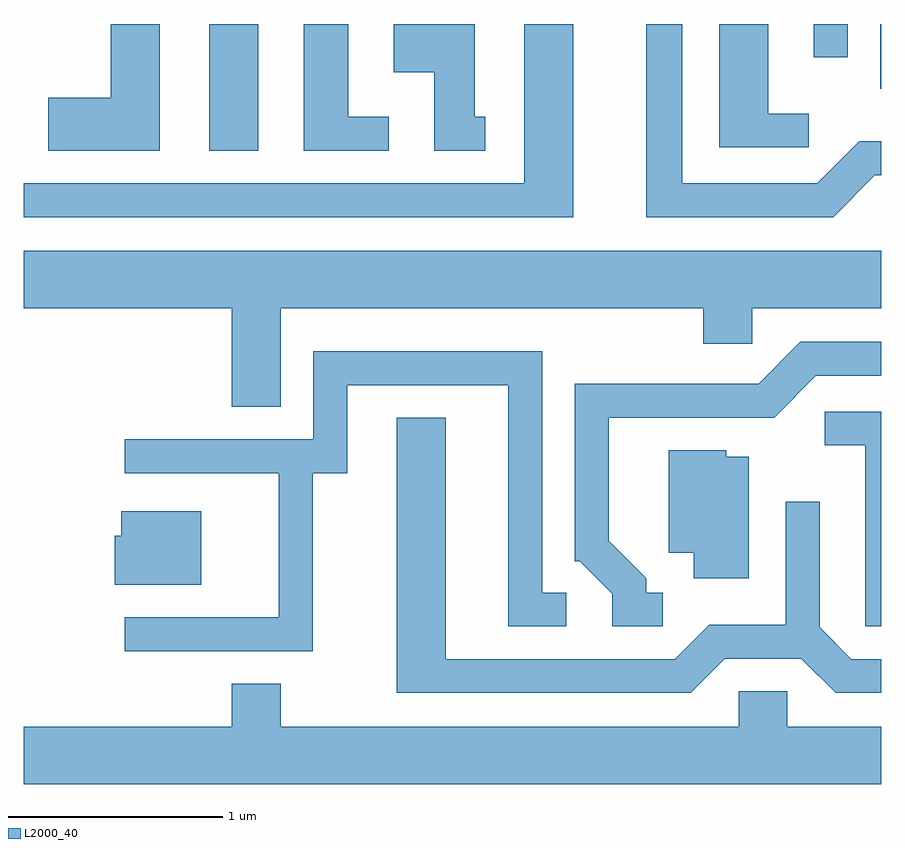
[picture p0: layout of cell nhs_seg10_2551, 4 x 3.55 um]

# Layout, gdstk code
import gdstk
lib = gdstk.Library(unit=1e-6, precision=1e-09)
def R(c, l, rs):  # rectangles x0, y0, x1, y1
    for r in rs: c.add(gdstk.rectangle(r[:2], r[2:], *l))
def P(c, l, *ps):  # polygons
    for p in ps: c.add(gdstk.Polygon(p, *l))
L2000_40 = (2000, 40)

nhs_seg10_2551 = lib.new_cell('nhs_seg10_2551')
R(nhs_seg10_2551, L2000_40, [(260.476,2167.931,260.704,2168.522), (263.606,2168.221,263.611,2168.522), (263.296,2168.368,263.454,2168.522)])
P(nhs_seg10_2551, L2000_40, [(261.313,2168.089),(261.124,2168.089),(261.124,2168.522),(260.916,2168.522),(260.916,2167.931),(261.313,2167.931)],
  [(262.174,2168.522),(261.946,2168.522),(261.946,2167.779),(259.611,2167.779),(259.611,2167.621),(262.174,2167.621)],
  [(263.273,2168.104),(263.084,2168.104),(263.084,2168.522),(262.856,2168.522),(262.856,2167.946),(263.273,2167.946)],
  [(263.582,2167.816),(263.611,2167.816),(263.611,2167.974),(263.509,2167.974),(263.314,2167.779),(262.684,2167.779),(262.684,2168.522),(262.516,2168.522),(262.516,2167.621),(263.387,2167.621)],
  [(260.244,2168.522),(260.016,2168.522),(260.016,2168.179),(259.726,2168.179),(259.726,2167.931),(260.244,2167.931)],
  [(261.763,2168.089),(261.714,2168.089),(261.714,2168.522),(261.336,2168.522),(261.336,2168.296),(261.526,2168.296),(261.526,2167.931),(261.763,2167.931)],
  [(260.809,2167.196),(262.781,2167.196),(262.781,2167.031),(263.009,2167.031),(263.009,2167.196),(263.611,2167.196),(263.611,2167.464),(259.611,2167.464),(259.611,2167.196),(260.581,2167.196),(260.581,2166.736),(260.809,2166.736)],
  [(262.593,2165.869),(262.514,2165.869),(262.514,2165.937),(262.339,2166.112),(262.339,2166.686),(263.112,2166.686),(263.307,2166.881),(263.611,2166.881),(263.611,2167.039),(263.234,2167.039),(263.039,2166.844),(262.181,2166.844),(262.181,2166.016),(262.204,2166.016),(262.356,2165.864),(262.356,2165.711),(262.593,2165.711)],
  [(260.959,2166.426),(261.119,2166.426),(261.119,2166.836),(261.871,2166.836),(261.871,2165.711),(262.142,2165.711),(262.142,2165.869),(262.029,2165.869),(262.029,2166.994),(260.961,2166.994),(260.961,2166.584),(260.082,2166.584),(260.082,2166.426),(260.801,2166.426),(260.801,2165.754),(260.082,2165.754),(260.082,2165.596),(260.959,2165.596)],
  [(263.611,2166.714),(263.348,2166.714),(263.348,2166.556),(263.536,2166.556),(263.536,2165.711),(263.611,2165.711)],
  [(262.882,2165.561),(263.239,2165.561),(263.399,2165.401),(263.611,2165.401),(263.611,2165.559),(263.472,2165.559),(263.324,2165.707),(263.324,2166.293),(263.166,2166.293),(263.166,2165.719),(262.809,2165.719),(262.649,2165.559),(261.579,2165.559),(261.579,2166.684),(261.351,2166.684),(261.351,2165.401),(262.722,2165.401)],
  [(262.994,2166.504),(262.889,2166.504),(262.889,2166.534),(262.621,2166.534),(262.621,2166.056),(262.736,2166.056),(262.736,2165.936),(262.994,2165.936)],
  [(260.439,2166.249),(260.066,2166.249),(260.066,2166.134),(260.036,2166.134),(260.036,2165.906),(260.439,2165.906)],
  [(263.611,2165.244),(263.174,2165.244),(263.174,2165.409),(262.946,2165.409),(262.946,2165.244),(260.809,2165.244),(260.809,2165.444),(260.581,2165.444),(260.581,2165.244),(259.611,2165.244),(259.611,2164.976),(263.611,2164.976)])

lib.write_gds('nhs_seg10_2551.gds')
